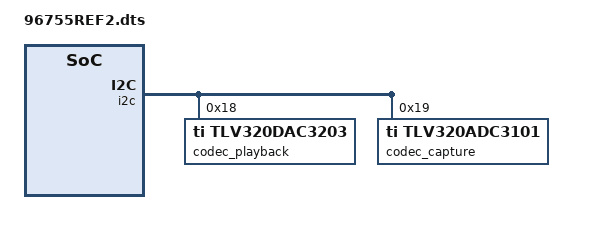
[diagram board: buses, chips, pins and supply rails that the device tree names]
#include "47622.dtsi"

/ {
    memory_controller {
        memcfg = <(BP_DDR_SPEED_933_13_13_13  | \
                   BP_DDR_TOTAL_SIZE_512MB    | \
                   BP_DDR_DEVICE_WIDTH_16     | \
                   BP_DDR_TOTAL_WIDTH_16BIT   | \
                   BP_DDR_SSC_CONFIG_1)>;
    };

	buttons {
		compatible = "brcm,buttons";
		reset_button {
			ext_irq = <&bca_extintr 39 BCA_GPIO_ACTIVE_LOW (BCA_EXTINTR_TYPE_LOW_LEVEL | BCA_EXTINTR_TYPE_SENSE_EDGE)>;
			press {
				print = "Button Press -- Hold for 5s to do restore to default";
			};
			hold {
				rst_to_dflt = <5>;
			};
			release {
				reset = <0>;
			};	
		};
		ses_button {
			ext_irq = <&bca_extintr 38 BCA_GPIO_ACTIVE_LOW (BCA_EXTINTR_TYPE_LOW_LEVEL | BCA_EXTINTR_TYPE_SENSE_EDGE)>;
			release {
				ses_short_period = <0>;
				ses_long_period = <3>;
			};
		};
	};
};

&i2c {
	#address-cells = <1>;
	#size-cells = <0>;
	codec_playback:codec_palyback@18{
		compatible = "ti,tlv320dac3203";
		reg = <0x18>;
	};
	codec_capture:codec_capture@19{
		compatible = "ti,tlv320adc3101";
		reg = <0x19>;
	};
};

&mdio {
	phy8:8 {
		status = "okay";
	};
};


&switch0 {
	ports {
		sysp_port0@0 {
			phy-handle = <&phy8>;
			status = "okay";
		};
	};
};
